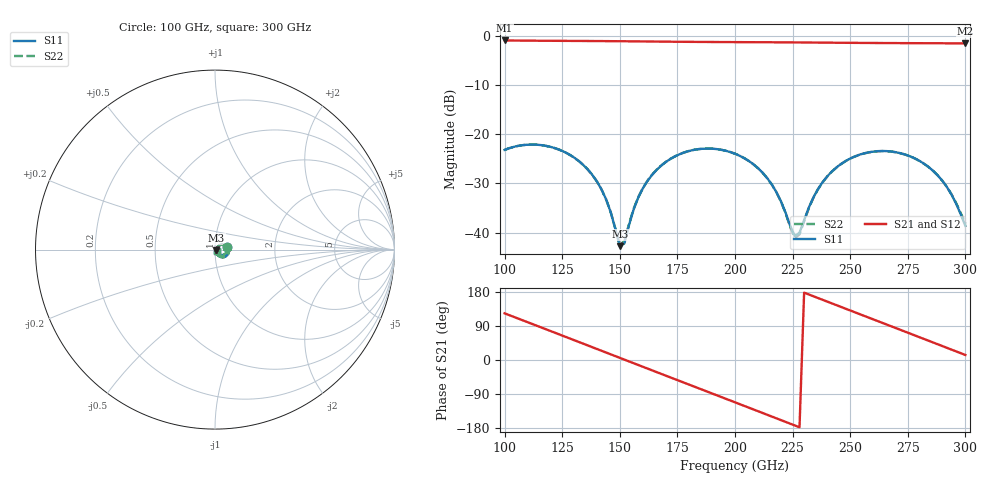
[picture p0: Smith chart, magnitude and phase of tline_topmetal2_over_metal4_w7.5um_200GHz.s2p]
#  GHZ S DB R 50
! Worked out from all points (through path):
!   101 points, 100 GHz to 300 GHz, reference 50 ohm
!   highest |S21| = -0.94 dB at 100 GHz (marker M1); lowest = -1.5 dB at 300 GHz (marker M2)
!   group delay of S21, straight-line fit = 6.53 ps
!   lowest |S11| = -42.7 dB at 150 GHz (marker M3), VSWR 1.01, Z = 50.6 - j0.341 ohm
!   |S11| at or under -10 dB: start of sweep to end of sweep
!   |S22| runs from -42.4 to -22.1 dB; largest |S21 - S12| = 1e-13
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100  -23.18 14.2  -0.94 123.2  -0.94 123.2  -23.18 14.3
116  -22.22 -18.8  -1.00 85.7  -1.00 85.7  -22.22 -18.7
134  -26.17 -54.6  -1.05 43.4  -1.05 43.4  -26.18 -54.2
144  -33.17 -66.3  -1.08 19.8  -1.08 19.8  -33.18 -65.3
150  -42.75 -27.5  -1.10 5.7  -1.10 5.7  -42.40 -25.7
152  -42.18 16.1  -1.11 1.0  -1.11 1.0  -41.77 15.8
156  -35.29 45.7  -1.12 -8.5  -1.12 -8.5  -35.16 44.8
160  -31.00 46.3  -1.14 -17.9  -1.14 -17.9  -30.94 45.7
168  -26.37 34.8  -1.18 -36.7  -1.18 -36.7  -26.34 34.5
184  -23.04 3.4  -1.24 -74.2  -1.24 -74.2  -23.03 3.2
200  -23.96 -29.0  -1.28 -111.7  -1.28 -111.7  -23.96 -29.2
216  -30.22 -54.6  -1.31 -149.3  -1.31 -149.3  -30.24 -55.1
226  -40.71 -13.3  -1.34 -172.8  -1.34 -172.8  -41.08 -13.8
228  -40.01 16.6  -1.35 -177.6  -1.35 -177.6  -40.35 17.6
234  -32.86 45.5  -1.37 168.3  -1.37 168.3  -32.94 46.7
248  -25.44 29.0  -1.42 135.4  -1.42 135.4  -25.47 29.9
258  -23.67 9.8  -1.45 111.9  -1.45 111.9  -23.69 10.7
268  -23.52 -10.1  -1.47 88.5  -1.47 88.5  -23.54 -9.2
278  -24.90 -29.5  -1.49 65.0  -1.49 65.0  -24.91 -28.3
288  -28.37 -45.9  -1.51 41.5  -1.51 41.5  -28.37 -44.2
294  -32.28 -50.0  -1.53 27.4  -1.53 27.4  -32.22 -47.5
300  -38.62 -30.1  -1.54 13.2  -1.54 13.2  -38.16 -26.6
